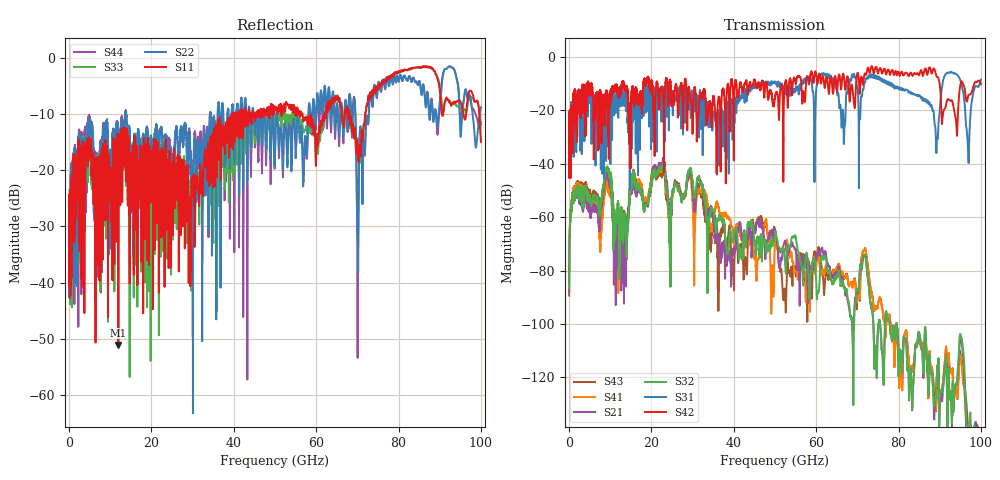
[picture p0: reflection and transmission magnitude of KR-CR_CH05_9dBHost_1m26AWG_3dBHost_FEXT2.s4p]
# GHz S MA R 50.00
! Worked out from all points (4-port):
!   10000 points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, 10 MHz to 100 GHz, reference 50 ohm
!   strongest paths, dB at 10 MHz, 25.01 GHz, 50.01 GHz, 75.01 GHz, 100 GHz:
!     S42: -28.5, -16.1, -14.7, -6.1, -10.2
!     S31: -28.5, -13.1, -9.2, -8.3, -8.5
!     S32: -86.7, -52.4, -65.7, -101.3, -155.2
!     S21: -87.8, -52.6, -64.7, -101.4, -147.8
!     S41: -87.6, -53.3, -69.3, -92.8, -143.5
!     S43: -89.3, -52.4, -66.0, -92.7, -142.9
!   lowest |S11| = -51.1 dB at 11.96 GHz (marker M1), VSWR 1.01, Z = 50.2 - j0.164 ohm
!   |S11| at or under -10 dB: start of sweep to 39.49 GHz; 56.7 GHz to 62.03 GHz (5.332 GHz wide, 8.98 % of centre); 68.07 GHz to 71.88 GHz (3.811 GHz wide, 5.45 % of centre) (the widest 3 of 37)
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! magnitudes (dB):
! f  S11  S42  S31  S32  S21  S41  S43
! 10 MHz  -24.5  -28.5  -28.5  -86.7  -87.8  -87.6  -89.3
! 9.24 GHz  -20.4  -14.7  -29.5  -41.0  -43.1  -45.6  -43.2
! 11.96 GHz  -51.1  -14.6  -22.3  -55.0  -58.4  -66.1  -66.3
! 22.74 GHz  -31.8  -12.7  -13.4  -40.6  -38.7  -41.1  -43.0
! 39.26 GHz  -15.7  -9.8  -24.6  -65.2  -79.2  -62.0  -69.7
! 96.84 GHz  -7.0  -15.2  -33.2  -143.8  -147.2  -144.6  -138.3
! 100 GHz  -14.9  -10.2  -8.5  -155.2  -147.8  -143.5  -142.9
